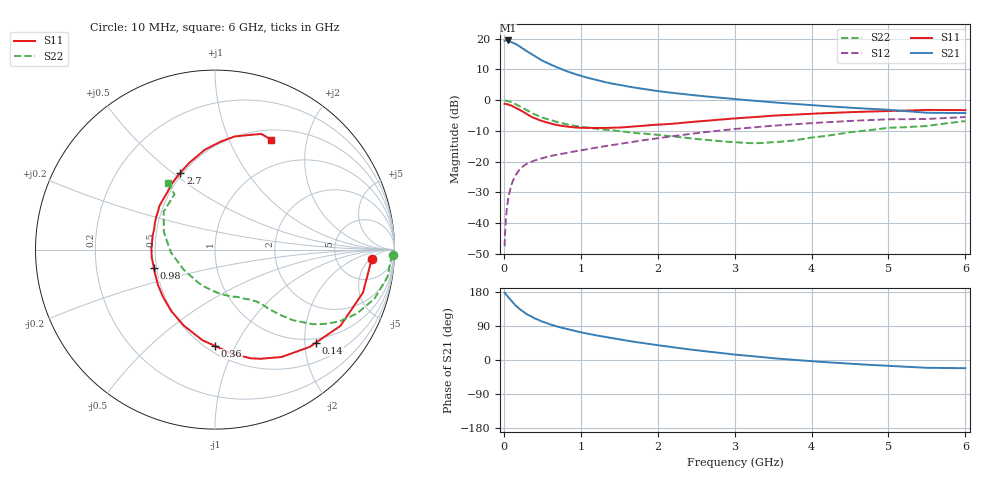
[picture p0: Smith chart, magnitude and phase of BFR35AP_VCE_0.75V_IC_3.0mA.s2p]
! Infineon Technologies  Discrete & RF Semiconductors
! BFR35AP
! VCE = 0.75 V,  IC =  3.0 mA
! Common Emitter S-Parameters:  Nov 2015
# GHz  S  MA  R  50
!  f  S11  S21  S12  S22
! GHz  MAG  ANG  MAG  ANG  MAG  ANG  MAG  ANG
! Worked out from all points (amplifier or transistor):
!   210 points, 10 MHz to 6 GHz, reference 50 ohm
!   highest |S21| = 19.4 dB at 50 MHz (marker M1)
!   |S21| within 3 dB of that: start of sweep to 267.3 MHz
!   unconditionally stable (mu >= 1): 873.8 MHz to end of sweep
!   at 185 MHz: K = 0.30, MSG = 20.5 dB, |S12| = -23.2 dB
!   at 1.52 GHz: K = 1.20, MAG = 6.8 dB, |S12| = -14.2 dB
!   at 6 GHz: K = 1.07, MAG = -0.9 dB, |S12| = -5.5 dB
!   S11 on the Smith chart (normalised r, x): 10 MHz: 12, -6; 140 MHz: 0.90, -2.25; 360 MHz: 0.55, -0.83; 980 MHz: 0.48, -0.11; 2.7 GHz: 0.49, +0.53; 6 GHz: 0.62, +1.44
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0.01  0.8745 -3.4  9.292 177.8  0.0042 89.3  0.9916 -1.7
0.025  0.8639 -8.1  9.342 173.6  0.0108 85.2  0.9789 -4.4
0.05  0.8584 -16.2  9.376 167.5  0.0219 80.8  0.973 -9.0
0.1  0.8178 -31.3  8.825 156.0  0.0426 72.7  0.9292 -17.2
0.14  0.7648 -42.7  8.355 146.8  0.0561 66.2  0.8784 -22.8
0.15  0.7567 -45.8  8.274 144.3  0.0596 65.0  0.8671 -24.3
0.2  0.7039 -58.2  7.603 135.4  0.0728 59.6  0.8011 -29.9
0.3  0.5926 -80.0  6.258 120.5  0.0924 51.8  0.6839 -37.4
0.36  0.5362 -90.1  5.628 114.6  0.0996 49.0  0.6257 -40.0
0.4  0.5095 -98.0  5.247 109.9  0.1045 47.3  0.5878 -42.1
0.5  0.4571 -112.5  4.396 101.2  0.1137 45.1  0.5203 -44.8
0.6  0.4214 -125.0  3.832 94.1  0.1229 43.6  0.4762 -46.5
0.8  0.3746 -147.8  3.012 82.5  0.1374 43.1  0.4083 -49.1
0.98  0.3556 -163.3  2.533 74.1  0.151 43.5  0.3722 -51.2
1.02  0.3543 -166.6  2.448 72.4  0.1541 43.5  0.3665 -51.7
1.4  0.3563 166.8  1.867 57.9  0.1849 43.4  0.3239 -58.2
2.02  0.4 137.3  1.397 38.6  0.2425 42.0  0.2706 -72.8
2.7  0.4697 114.2  1.128 21.2  0.3097 36.9  0.2212 -99.4
3.1  0.5138 104.2  1.016 12.6  0.3478 32.3  0.2024 -122.0
4.1  0.6089 85.6  0.813 -4.6  0.4311 20.2  0.2539 178.3
5.1  0.6701 72.7  0.682 -16.6  0.489 6.8  0.3581 139.9
6  0.6878 63.1  0.616 -21.6  0.5316 -2.6  0.4568 125.1
